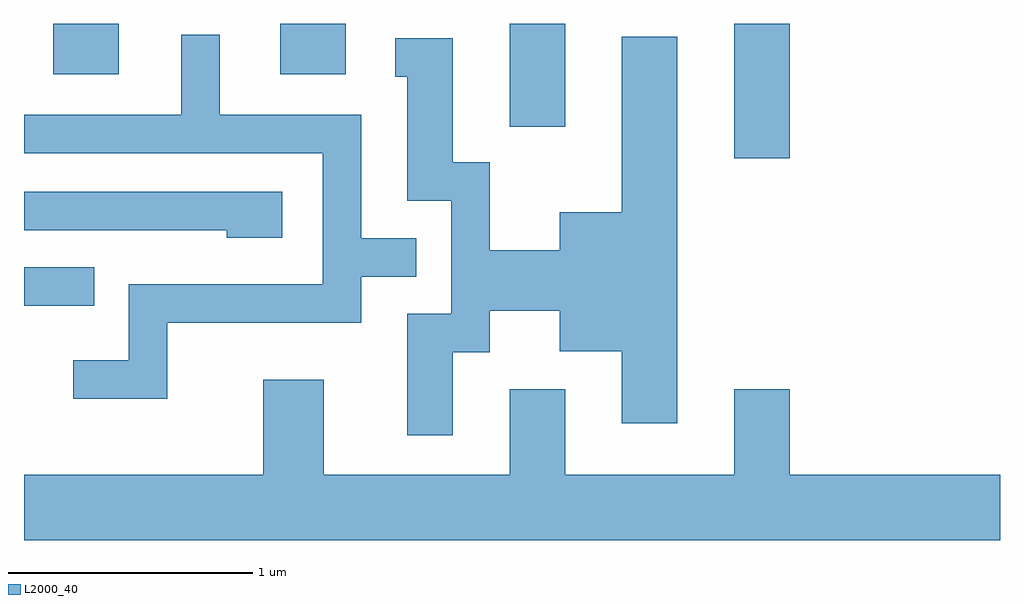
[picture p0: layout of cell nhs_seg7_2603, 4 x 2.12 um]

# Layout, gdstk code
import gdstk
lib = gdstk.Library(unit=1e-6, precision=1e-09)
def R(c, l, rs):  # rectangles x0, y0, x1, y1
    for r in rs: c.add(gdstk.rectangle(r[:2], r[2:], *l))
def P(c, l, *ps):  # polygons
    for p in ps: c.add(gdstk.Polygon(p, *l))
L2000_40 = (2000, 40)

nhs_seg7_2603 = lib.new_cell('nhs_seg7_2603')
R(nhs_seg7_2603, L2000_40, [(265.611,1673.096,265.898,1673.254), (268.521,1673.701,268.749,1674.252), (267.601,1673.831,267.829,1674.252), (265.731,1674.046,265.999,1674.252), (266.661,1674.046,266.929,1674.252)])
P(nhs_seg7_2603, L2000_40, [(266.199,1673.026),(266.994,1673.026),(266.994,1673.216),(267.218,1673.216),(267.218,1673.374),(266.994,1673.374),(266.994,1673.879),(266.414,1673.879),(266.414,1674.208),(266.256,1674.208),(266.256,1673.879),(265.611,1673.879),(265.611,1673.721),(266.836,1673.721),(266.836,1673.184),(266.041,1673.184),(266.041,1672.874),(265.813,1672.874),(265.813,1672.716),(266.199,1672.716)],
  [(267.369,1672.906),(267.519,1672.906),(267.519,1673.076),(267.806,1673.076),(267.806,1672.911),(268.061,1672.911),(268.061,1672.616),(268.289,1672.616),(268.289,1674.199),(268.061,1674.199),(268.061,1673.479),(267.806,1673.479),(267.806,1673.324),(267.519,1673.324),(267.519,1673.684),(267.369,1673.684),(267.369,1674.194),(267.133,1674.194),(267.133,1674.036),(267.181,1674.036),(267.181,1673.526),(267.361,1673.526),(267.361,1673.064),(267.181,1673.064),(267.181,1672.566),(267.369,1672.566)],
  [(266.669,1673.564),(265.611,1673.564),(265.611,1673.406),(266.441,1673.406),(266.441,1673.376),(266.669,1673.376)],
  [(269.611,1672.404),(268.749,1672.404),(268.749,1672.754),(268.521,1672.754),(268.521,1672.404),(267.829,1672.404),(267.829,1672.754),(267.601,1672.754),(267.601,1672.404),(266.839,1672.404),(266.839,1672.794),(266.591,1672.794),(266.591,1672.404),(265.611,1672.404),(265.611,1672.136),(269.611,1672.136)])

lib.write_gds('nhs_seg7_2603.gds')
